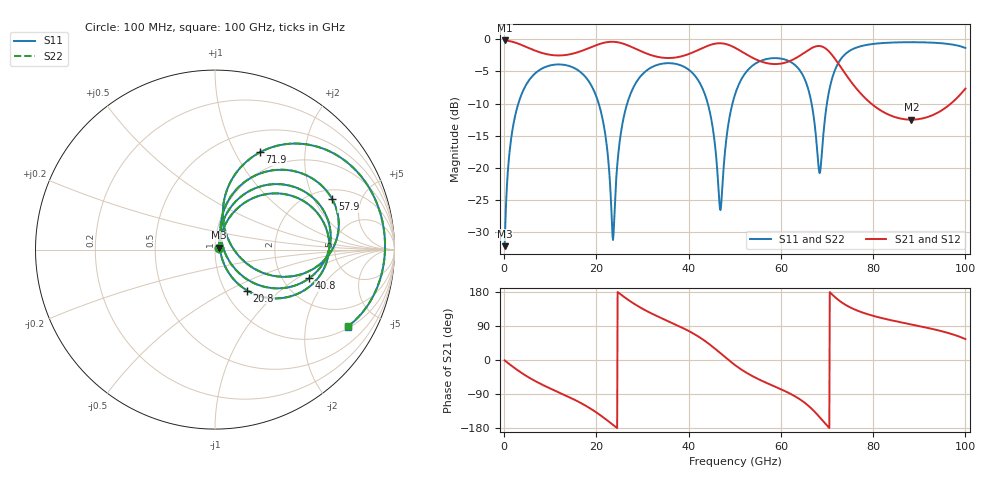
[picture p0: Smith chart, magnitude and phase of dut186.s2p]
! Touchstone file exported from HFSS 2026.1.0
!  File:  C:/ffzhzh/LocalFiles/Ansys_Project_Files/temp_train_TSV_RDL_186_1783654293_29156.aedt
!  Generated:  11:38:54 AM Jul 10, 2026
!  Design:  TSV_RDL
!  Project:  temp_train_TSV_RDL_186_1783654293_29156
! Variables:
!  h_bsmrdl = 2.5um
!  h_ox = 20um
!  h_rdl = 5um
!  h_sub = 60.73um
!  h_tmrdl = 3.13um
!  h_tsv = 60.73um
!  h_via = 3um
!  l_bsmrdl = 142.88um
!  l_sub = 2360.84um
!  l_tmrdl = 366.61um
!  m_sub = 200um
!  pitch = 55.2um
!  r_tsv = 12.76um
!  s_tmrdl = 10um
!  w_bsmrdl = 11.08um
!  w_sub = 500um
!  w_tmrdl = 10.84um
!  x_tsv_center1 = 372.03um
!  x_tsv_center2 = 525.99um
!  x_tsv_center3 = 903.44um
!  x_tsv_center4 = 1057.4um
!  x_tsv_center5 = 1434.85um
!  x_tsv_center6 = 1588.81um
# GHz S MA R 50.000000
! Terminal data exported
! Port[1] = TM_RDL1_1_T1
! Port[2] = TM_RDL5_1_T1
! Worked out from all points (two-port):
!   1000 points, 100 MHz to 100 GHz, reference 50 ohm
!   highest |S21| = -0.19 dB at 100 MHz (marker M1); lowest = -12.5 dB at 88.3 GHz (marker M2)
!   |S21| within 3 dB of the highest: start of sweep to 54.75 GHz; 62.56 GHz to 71.87 GHz (9.316 GHz wide, 13.9 % of centre)
!   lowest |S11| = -32.2 dB at 100 MHz (marker M3), VSWR 1.05, Z = 52.2 + j1.18 ohm
!   |S11| at or under -10 dB: 20.5 GHz to 26.67 GHz (6.172 GHz wide, 26.2 % of centre); 44.15 GHz to 49.5 GHz (5.353 GHz wide, 11.4 % of centre); 66.66 GHz to 69.98 GHz (3.318 GHz wide, 4.86 % of centre) (the widest 3 of 4)
!   |S22| runs from -32.2 to -0.5 dB; largest |S21 - S12| = 1.7e-14
!   S11 on the Smith chart (normalised r, x): 100 MHz: 1.04, +0.02; 20.8 GHz: 1.26, -0.63; 40.8 GHz: 2.77, -1.27; 57.9 GHz: 2.49, +2.82; 71.9 GHz: 0.75, +1.27; 100 GHz: 1.07, -3.40
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0.1  0.02465 27.3  0.9782 -1.0  0.9782 -1.0  0.02465 27.3
! Gamma 0 0 0 0
! Port Impedance 50 0 50 0
1.6  0.1771 66.7  0.9595 -15.2  0.9595 -15.2  0.1771 66.7
4.4  0.4182 47.5  0.8831 -39.0  0.8831 -39.0  0.4182 47.5
10.7  0.6329 9.3  0.7512 -79.1  0.7512 -79.1  0.6329 9.3
16.8  0.5461 -24.6  0.8113 -114.6  0.8113 -114.6  0.5461 -24.6
20.8  0.2901 -51.8  0.9206 -145.2  0.9206 -145.2  0.29 -51.8
23.6  0.02759 8.2  0.9553 -171.2  0.9553 -171.2  0.02758 8.2
26.7  0.3185 64.7  0.8995 160.4  0.8995 160.4  0.3185 64.7
33.4  0.635 22.9  0.7278 114.4  0.7278 114.4  0.635 22.9
40.8  0.5479 -17.0  0.7872 71.4  0.7872 71.4  0.5479 -17.1
44.5  0.2815 -40.9  0.8984 41.6  0.8984 41.6  0.2814 -41.1
46.9  0.04703 20.1  0.9304 17.7  0.9304 17.7  0.046 20.1
50.1  0.3761 69.0  0.8566 -13.8  0.8566 -13.8  0.376 69.1
57.9  0.7111 23.2  0.6435 -65.9  0.6435 -65.9  0.711 23.2
62.8  0.6411 -1.7  0.6996 -94.0  0.6996 -94.0  0.641 -1.7
66.7  0.3104 -25.6  0.8546 -129.0  0.8546 -129.0  0.3104 -25.5
68.5  0.09287 36.6  0.8845 -152.3  0.8845 -152.3  0.09337 36.7
71.9  0.5966 65.2  0.6903 164.1  0.6903 164.1  0.5968 65.2
76.7  0.8695 35.9  0.4008 129.7  0.4008 129.7  0.8696 35.9
83.4  0.9399 14.8  0.2589 106.3  0.2589 106.3  0.9399 14.9
88.3  0.9481 3.6  0.2371 93.7  0.2371 93.7  0.9481 3.6
100  0.8551 -30.1  0.4132 55.2  0.4132 55.2  0.8552 -30.0
